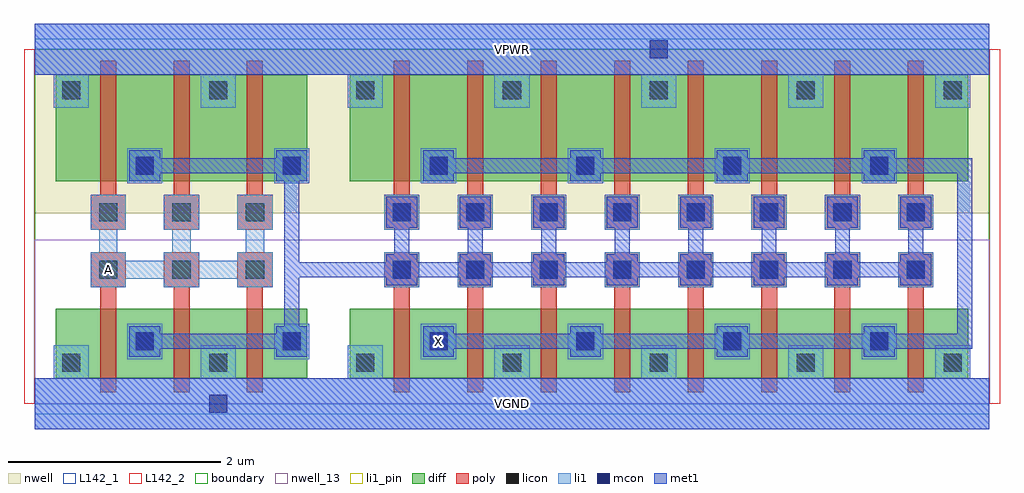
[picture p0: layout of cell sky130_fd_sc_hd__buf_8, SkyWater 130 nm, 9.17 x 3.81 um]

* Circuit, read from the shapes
.subckt sky130_fd_sc_hd__buf_8 A VGND VPWR X
XM1 n1 A VGND VSUBS sky130_fd_pr__nfet_01v8 w=0.65 l=0.15 m=3
XM2 X n1 VGND VSUBS sky130_fd_pr__nfet_01v8 w=0.65 l=0.15 m=8
XM3 n1 A VPWR n2 sky130_fd_pr__pfet_01v8 w=1 l=0.15 m=3
XM4 X n1 VPWR n2 sky130_fd_pr__pfet_01v8 w=1 l=0.15 m=8
.ends

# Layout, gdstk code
import gdstk
lib = gdstk.Library(unit=1e-6, precision=1e-09)
def R(c, l, rs):  # rectangles x0, y0, x1, y1
    for r in rs: c.add(gdstk.rectangle(r[:2], r[2:], *l))
def A(c, l, x, y, w, h, nx, ny, dx, dy):  # array of equal rectangles
    R(c, l, [(x+i*dx, y+j*dy, x+i*dx+w, y+j*dy+h) for i in range(nx) for j in range(ny)])
def P(c, l, *ps):  # polygons
    for p in ps: c.add(gdstk.Polygon(p, *l))
nwell_13 = (64, 13)
nwell = (64, 20)
diff = (65, 20)
poly = (66, 20)
licon = (66, 44)
li1_pin = (67, 16)
li1 = (67, 20)
mcon = (67, 44)
met1 = (68, 20)
L142_1 = (142, 1)
L142_2 = (142, 2)
boundary = (235, 4)

sky130_fd_sc_hd__buf_8 = lib.new_cell('sky130_fd_sc_hd__buf_8')
R(sky130_fd_sc_hd__buf_8, nwell_13, [(0,0,8.97,1.54)])
R(sky130_fd_sc_hd__buf_8, nwell, [(0,1.79,8.97,3.33)])
A(sky130_fd_sc_hd__buf_8, diff, 3.375, 0.24, 0.69, 0.65, 7, 1, 0.69, 0)
A(sky130_fd_sc_hd__buf_8, diff, 3.375, 2.09, 0.69, 1, 7, 1, 0.69, 0)
R(sky130_fd_sc_hd__buf_8, diff, [(0.2,0.24,2.56,0.89), (0.2,0.24,0.615,0.89), (0.615,0.24,1.305,0.89), (1.305,0.24,1.995,0.89), (1.995,0.24,2.56,0.89), (2.96,0.24,8.77,0.89), (2.96,0.24,3.375,0.89), (8.205,0.24,8.77,0.89), (0.2,2.09,2.56,3.09), (0.2,2.09,0.615,3.09), (0.615,2.09,1.305,3.09), (1.305,2.09,1.995,3.09), (1.995,2.09,2.56,3.09), (2.96,2.09,8.77,3.09), (2.96,2.09,3.375,3.09), (8.205,2.09,8.77,3.09)])
P(sky130_fd_sc_hd__buf_8, poly, [(0.615,0.11),(0.615,1.095),(0.525,1.095),(0.525,1.425),(0.855,1.425),(0.855,1.095),(0.765,1.095),(0.765,0.11)],
  [(1.305,0.11),(1.305,1.095),(1.215,1.095),(1.215,1.425),(1.545,1.425),(1.545,1.095),(1.455,1.095),(1.455,0.11)],
  [(1.995,0.11),(1.995,1.095),(1.905,1.095),(1.905,1.425),(2.235,1.425),(2.235,1.095),(2.145,1.095),(2.145,0.11)],
  [(0.525,1.635),(0.525,1.965),(0.615,1.965),(0.615,3.22),(0.765,3.22),(0.765,1.965),(0.855,1.965),(0.855,1.635)],
  [(1.215,1.635),(1.215,1.965),(1.305,1.965),(1.305,3.22),(1.455,3.22),(1.455,1.965),(1.545,1.965),(1.545,1.635)],
  [(1.905,1.635),(1.905,1.965),(1.995,1.965),(1.995,3.22),(2.145,3.22),(2.145,1.965),(2.235,1.965),(2.235,1.635)],
  [(3.375,0.11),(3.375,1.095),(3.285,1.095),(3.285,1.425),(3.615,1.425),(3.615,1.095),(3.525,1.095),(3.525,0.11)],
  [(4.065,0.11),(4.065,1.095),(3.975,1.095),(3.975,1.425),(4.305,1.425),(4.305,1.095),(4.215,1.095),(4.215,0.11)],
  [(4.755,0.11),(4.755,1.095),(4.665,1.095),(4.665,1.425),(4.995,1.425),(4.995,1.095),(4.905,1.095),(4.905,0.11)],
  [(5.445,0.11),(5.445,1.095),(5.355,1.095),(5.355,1.425),(5.685,1.425),(5.685,1.095),(5.595,1.095),(5.595,0.11)],
  [(6.135,0.11),(6.135,1.095),(6.045,1.095),(6.045,1.425),(6.375,1.425),(6.375,1.095),(6.285,1.095),(6.285,0.11)],
  [(6.825,0.11),(6.825,1.095),(6.735,1.095),(6.735,1.425),(7.065,1.425),(7.065,1.095),(6.975,1.095),(6.975,0.11)],
  [(7.515,0.11),(7.515,1.095),(7.425,1.095),(7.425,1.425),(7.755,1.425),(7.755,1.095),(7.665,1.095),(7.665,0.11)],
  [(8.205,0.11),(8.205,1.095),(8.115,1.095),(8.115,1.425),(8.445,1.425),(8.445,1.095),(8.355,1.095),(8.355,0.11)],
  [(3.285,1.635),(3.285,1.965),(3.375,1.965),(3.375,3.22),(3.525,3.22),(3.525,1.965),(3.615,1.965),(3.615,1.635)],
  [(3.975,1.635),(3.975,1.965),(4.065,1.965),(4.065,3.22),(4.215,3.22),(4.215,1.965),(4.305,1.965),(4.305,1.635)],
  [(4.665,1.635),(4.665,1.965),(4.755,1.965),(4.755,3.22),(4.905,3.22),(4.905,1.965),(4.995,1.965),(4.995,1.635)],
  [(5.355,1.635),(5.355,1.965),(5.445,1.965),(5.445,3.22),(5.595,3.22),(5.595,1.965),(5.685,1.965),(5.685,1.635)],
  [(6.045,1.635),(6.045,1.965),(6.135,1.965),(6.135,3.22),(6.285,3.22),(6.285,1.965),(6.375,1.965),(6.375,1.635)],
  [(6.735,1.635),(6.735,1.965),(6.825,1.965),(6.825,3.22),(6.975,3.22),(6.975,1.965),(7.065,1.965),(7.065,1.635)],
  [(7.425,1.635),(7.425,1.965),(7.515,1.965),(7.515,3.22),(7.665,3.22),(7.665,1.965),(7.755,1.965),(7.755,1.635)],
  [(8.115,1.635),(8.115,1.965),(8.205,1.965),(8.205,3.22),(8.355,3.22),(8.355,1.965),(8.445,1.965),(8.445,1.635)])
A(sky130_fd_sc_hd__buf_8, licon, 0.26, 0.3, 0.17, 0.17, 7, 2, 1.38, 2.56)
A(sky130_fd_sc_hd__buf_8, licon, 0.95, 0.5, 0.17, 0.17, 6, 2, 1.38, 1.65)
A(sky130_fd_sc_hd__buf_8, licon, 0.605, 1.175, 0.17, 0.17, 3, 2, 0.69, 0.54)
A(sky130_fd_sc_hd__buf_8, licon, 3.365, 1.175, 0.17, 0.17, 8, 2, 0.69, 0.54)
R(sky130_fd_sc_hd__buf_8, li1_pin, [(0,-0.24,8.97,0.24), (3.63,0.42,3.96,0.75), (0,3.09,8.97,3.57)])
P(sky130_fd_sc_hd__buf_8, li1_pin, [(0.525,1.095),(0.525,1.425),(0.605,1.425),(0.605,1.635),(0.525,1.635),(0.525,1.965),(0.855,1.965),(0.855,1.635),(0.775,1.635),(0.775,1.425),(0.855,1.425),(0.855,1.345),(1.215,1.345),(1.215,1.425),(1.295,1.425),(1.295,1.635),(1.215,1.635),(1.215,1.965),(1.545,1.965),(1.545,1.635),(1.465,1.635),(1.465,1.425),(1.545,1.425),(1.545,1.345),(1.905,1.345),(1.905,1.425),(1.985,1.425),(1.985,1.635),(1.905,1.635),(1.905,1.965),(2.235,1.965),(2.235,1.635),(2.155,1.635),(2.155,1.425),(2.235,1.425),(2.235,1.095),(1.905,1.095),(1.905,1.175),(1.545,1.175),(1.545,1.095),(1.215,1.095),(1.215,1.175),(0.855,1.175),(0.855,1.095)])
A(sky130_fd_sc_hd__buf_8, li1, 0.87, 0.42, 0.33, 0.33, 6, 2, 1.38, 1.65)
A(sky130_fd_sc_hd__buf_8, li1, 3.285, 1.095, 0.33, 0.33, 8, 2, 0.69, 0.54)
P(sky130_fd_sc_hd__buf_8, li1, [(0.18,2.78),(0.18,3.09),(0,3.09),(0,3.57),(8.97,3.57),(8.97,3.09),(8.79,3.09),(8.79,2.78),(8.46,2.78),(8.46,3.09),(7.41,3.09),(7.41,2.78),(7.08,2.78),(7.08,3.09),(6.03,3.09),(6.03,2.78),(5.7,2.78),(5.7,3.09),(4.65,3.09),(4.65,2.78),(4.32,2.78),(4.32,3.09),(3.27,3.09),(3.27,2.78),(2.94,2.78),(2.94,3.09),(1.89,3.09),(1.89,2.78),(1.56,2.78),(1.56,3.09),(0.51,3.09),(0.51,2.78)],
  [(0,-0.24),(0,0.24),(0.18,0.24),(0.18,0.55),(0.51,0.55),(0.51,0.24),(1.56,0.24),(1.56,0.55),(1.89,0.55),(1.89,0.24),(2.94,0.24),(2.94,0.55),(3.27,0.55),(3.27,0.24),(4.32,0.24),(4.32,0.55),(4.65,0.55),(4.65,0.24),(5.7,0.24),(5.7,0.55),(6.03,0.55),(6.03,0.24),(7.08,0.24),(7.08,0.55),(7.41,0.55),(7.41,0.24),(8.46,0.24),(8.46,0.55),(8.79,0.55),(8.79,0.24),(8.97,0.24),(8.97,-0.24)],
  [(0.525,1.095),(0.525,1.425),(0.605,1.425),(0.605,1.635),(0.525,1.635),(0.525,1.965),(0.855,1.965),(0.855,1.635),(0.775,1.635),(0.775,1.425),(0.855,1.425),(0.855,1.345),(1.215,1.345),(1.215,1.425),(1.295,1.425),(1.295,1.635),(1.215,1.635),(1.215,1.965),(1.545,1.965),(1.545,1.635),(1.465,1.635),(1.465,1.425),(1.545,1.425),(1.545,1.345),(1.905,1.345),(1.905,1.425),(1.985,1.425),(1.985,1.635),(1.905,1.635),(1.905,1.965),(2.235,1.965),(2.235,1.635),(2.155,1.635),(2.155,1.425),(2.235,1.425),(2.235,1.095),(1.905,1.095),(1.905,1.175),(1.545,1.175),(1.545,1.095),(1.215,1.095),(1.215,1.175),(0.855,1.175),(0.855,1.095)])
A(sky130_fd_sc_hd__buf_8, mcon, 0.95, 0.5, 0.17, 0.17, 6, 2, 1.38, 1.65)
A(sky130_fd_sc_hd__buf_8, mcon, 3.365, 1.175, 0.17, 0.17, 8, 2, 0.69, 0.54)
R(sky130_fd_sc_hd__buf_8, mcon, [(1.64,-0.085,1.81,0.085), (5.78,3.245,5.95,3.415)])
R(sky130_fd_sc_hd__buf_8, met1, [(0,-0.24,8.97,0.24), (0,3.09,8.97,3.57)])
P(sky130_fd_sc_hd__buf_8, met1, [(0.89,0.44),(0.89,0.73),(1.18,0.73),(1.18,0.655),(2.27,0.655),(2.27,0.73),(2.345,0.73),(2.345,2.09),(2.27,2.09),(2.27,2.165),(1.18,2.165),(1.18,2.09),(0.89,2.09),(0.89,2.38),(1.18,2.38),(1.18,2.305),(2.27,2.305),(2.27,2.38),(2.56,2.38),(2.56,2.09),(2.485,2.09),(2.485,1.33),(3.305,1.33),(3.305,1.405),(3.38,1.405),(3.38,1.655),(3.305,1.655),(3.305,1.945),(3.595,1.945),(3.595,1.655),(3.52,1.655),(3.52,1.405),(3.595,1.405),(3.595,1.33),(3.995,1.33),(3.995,1.405),(4.07,1.405),(4.07,1.655),(3.995,1.655),(3.995,1.945),(4.285,1.945),(4.285,1.655),(4.21,1.655),(4.21,1.405),(4.285,1.405),(4.285,1.33),(4.685,1.33),(4.685,1.405),(4.76,1.405),(4.76,1.655),(4.685,1.655),(4.685,1.945),(4.975,1.945),(4.975,1.655),(4.9,1.655),(4.9,1.405),(4.975,1.405),(4.975,1.33),(5.375,1.33),(5.375,1.405),(5.45,1.405),(5.45,1.655),(5.375,1.655),(5.375,1.945),(5.665,1.945),(5.665,1.655),(5.59,1.655),(5.59,1.405),(5.665,1.405),(5.665,1.33),(6.065,1.33),(6.065,1.405),(6.14,1.405),(6.14,1.655),(6.065,1.655),(6.065,1.945),(6.355,1.945),(6.355,1.655),(6.28,1.655),(6.28,1.405),(6.355,1.405),(6.355,1.33),(6.755,1.33),(6.755,1.405),(6.83,1.405),(6.83,1.655),(6.755,1.655),(6.755,1.945),(7.045,1.945),(7.045,1.655),(6.97,1.655),(6.97,1.405),(7.045,1.405),(7.045,1.33),(7.445,1.33),(7.445,1.405),(7.52,1.405),(7.52,1.655),(7.445,1.655),(7.445,1.945),(7.735,1.945),(7.735,1.655),(7.66,1.655),(7.66,1.405),(7.735,1.405),(7.735,1.33),(8.135,1.33),(8.135,1.405),(8.21,1.405),(8.21,1.655),(8.135,1.655),(8.135,1.945),(8.425,1.945),(8.425,1.655),(8.35,1.655),(8.35,1.405),(8.425,1.405),(8.425,1.115),(8.135,1.115),(8.135,1.19),(7.735,1.19),(7.735,1.115),(7.445,1.115),(7.445,1.19),(7.045,1.19),(7.045,1.115),(6.755,1.115),(6.755,1.19),(6.355,1.19),(6.355,1.115),(6.065,1.115),(6.065,1.19),(5.665,1.19),(5.665,1.115),(5.375,1.115),(5.375,1.19),(4.975,1.19),(4.975,1.115),(4.685,1.115),(4.685,1.19),(4.285,1.19),(4.285,1.115),(3.995,1.115),(3.995,1.19),(3.595,1.19),(3.595,1.115),(3.305,1.115),(3.305,1.19),(2.485,1.19),(2.485,0.73),(2.56,0.73),(2.56,0.44),(2.27,0.44),(2.27,0.515),(1.18,0.515),(1.18,0.44)],
  [(3.65,0.44),(3.65,0.73),(3.94,0.73),(3.94,0.655),(5.03,0.655),(5.03,0.73),(5.32,0.73),(5.32,0.655),(6.41,0.655),(6.41,0.73),(6.7,0.73),(6.7,0.655),(7.79,0.655),(7.79,0.73),(8.08,0.73),(8.08,0.655),(8.67,0.655),(8.67,2.165),(8.08,2.165),(8.08,2.09),(7.79,2.09),(7.79,2.165),(6.7,2.165),(6.7,2.09),(6.41,2.09),(6.41,2.165),(5.32,2.165),(5.32,2.09),(5.03,2.09),(5.03,2.165),(3.94,2.165),(3.94,2.09),(3.65,2.09),(3.65,2.38),(3.94,2.38),(3.94,2.305),(5.03,2.305),(5.03,2.38),(5.32,2.38),(5.32,2.305),(6.41,2.305),(6.41,2.38),(6.7,2.38),(6.7,2.305),(7.79,2.305),(7.79,2.38),(8.08,2.38),(8.08,2.305),(8.81,2.305),(8.81,0.515),(8.08,0.515),(8.08,0.44),(7.79,0.44),(7.79,0.515),(6.7,0.515),(6.7,0.44),(6.41,0.44),(6.41,0.515),(5.32,0.515),(5.32,0.44),(5.03,0.44),(5.03,0.515),(3.94,0.515),(3.94,0.44)])
R(sky130_fd_sc_hd__buf_8, L142_1, [(0,-0.1,8.97,0), (0,3.33,8.97,3.43)])
R(sky130_fd_sc_hd__buf_8, L142_2, [(-0.1,0,0,3.33), (8.97,0,9.07,3.33)])
R(sky130_fd_sc_hd__buf_8, boundary, [(0,0,8.97,3.33)])
sky130_fd_sc_hd__buf_8.add(gdstk.Label('X', (3.795,0.585), layer=67, texttype=5))
sky130_fd_sc_hd__buf_8.add(gdstk.Label('A', (0.69,1.26), layer=67, texttype=5))
sky130_fd_sc_hd__buf_8.add(gdstk.Label('VGND', (4.485,0), layer=67, texttype=5))
sky130_fd_sc_hd__buf_8.add(gdstk.Label('VPWR', (4.485,3.33), layer=67, texttype=5))
sky130_fd_sc_hd__buf_8.add(gdstk.Label('VGND', (4.485,0), layer=68, texttype=5))
sky130_fd_sc_hd__buf_8.add(gdstk.Label('VPWR', (4.485,3.33), layer=68, texttype=5))

lib.write_gds('sky130_fd_sc_hd__buf_8.gds')
